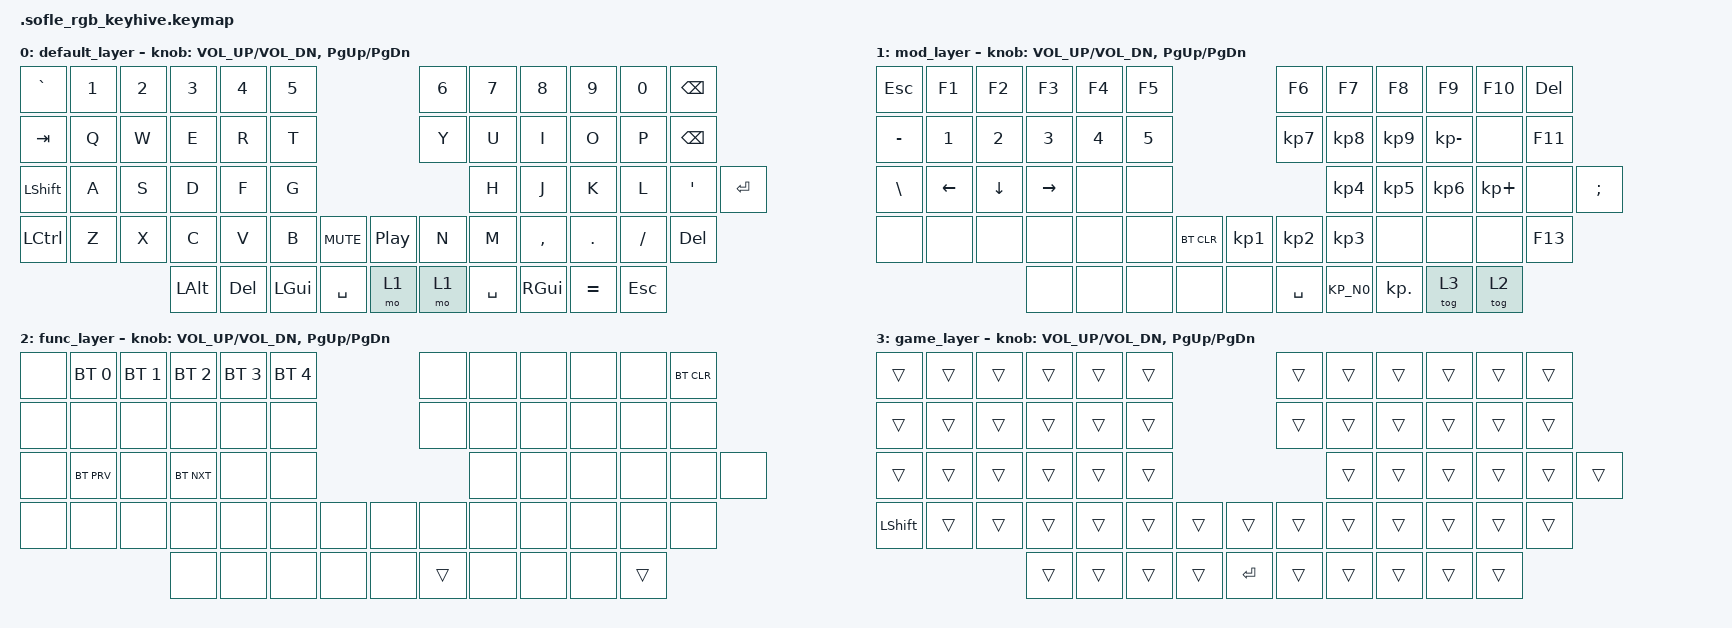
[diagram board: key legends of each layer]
/*
 * Copyright (c) 2020-2022 The ZMK Contributors
 *
 * SPDX-License-Identifier: MIT
 */

#include <zmk-helpers/helper.h>
#include <zmk-helpers/key-labels/sofle.h>
#include <behaviors.dtsi>
#include <dt-bindings/zmk/keys.h>
#include <dt-bindings/zmk/bt.h>
#include <dt-bindings/zmk/mouse.h>
#include <dt-bindings/zmk/outputs.h>
#include <dt-bindings/zmk/ext_power.h>
#include <dt-bindings/zmk/rgb.h>

/ {
  keymap {
    compatible = "zmk,keymap";

    default_layer {
      bindings = <
        &kp GRAVE       &kp N1   &kp N2    &kp N3    &kp N4   &kp N5                                &kp N6  &kp N7   &kp N8    &kp N9  &kp N0    &kp BACKSPACE
        &kp TAB         &kp Q    &kp W     &kp E     &kp R    &kp T                                 &kp Y   &kp U    &kp I     &kp O   &kp P     &kp BACKSPACE
        &kp LSHIFT       &kp A    &kp S     &kp D     &kp F    &kp G                                &kp H   &kp J    &kp K     &kp L   &kp SINGLE_QUOTE  &kp RET
        &kp LCTRL &kp Z    &kp X     &kp C     &kp V    &kp B     &kp C_MUTE       &kp C_PLAY_PAUSE &kp N   &kp M    &kp COMMA &kp DOT &kp SLASH &kp DEL
                                 &kp LALT  &kp DEL &kp LGUI &kp SPACE &mo 1        &mo 1  &kp SPACE &kp RGUI &kp EQUAL &kp ESC
      >;

      sensor-bindings = <&inc_dec_kp C_VOL_UP C_VOL_DN &inc_dec_kp PG_UP PG_DN>;
    };

    mod_layer {
      bindings = <
        &kp ESC &kp F1   &kp F2   &kp F3    &kp F4 &kp F5                     &kp F6 &kp F7 &kp F8  &kp F9 &kp F10 &kp DELETE
        &kp MINUS   &kp N1    &kp N2   &kp N3     &kp N4  &kp N5              &kp KP_N7  &kp KP_N8  &kp KP_N9   &kp KP_MINUS  &none   &kp F11
        &kp BACKSLASH   &kp LEFT &kp DOWN &kp RIGHT &none  &none              &kp KP_N4  &kp KP_N5  &kp KP_N6   &kp KP_PLUS  &none   &kp SEMI
        &none   &none    &none    &none   &none  &none &bt BT_CLR           &kp KP_N1  &kp KP_N2  &kp KP_N3  &none   &none  &none   &kp F13
                         &none    &none     &none  &none &none &kp SPACE &KP_N0  &kp KP_DOT  &tog 3  &tog 2
      >;

      sensor-bindings = <&inc_dec_kp C_VOL_UP C_VOL_DN &inc_dec_kp PG_UP PG_DN>;
    };

    func_layer {
      bindings = <
        &none &bt BT_SEL 0 &bt BT_SEL 1     &bt BT_SEL 2 &bt BT_SEL 3 &bt BT_SEL 4              &none &none &none &none  &none &bt BT_CLR
        &none &none        &none            &none        &none        &none                     &none &none &none &none  &none &none
        &none &bt BT_PRV   &none            &bt BT_NXT   &none        &none                     &none &none &none &none  &none &none
        &none &none        &none            &none        &none        &none        &none &none  &none &none &none &none  &none &none
                           &none            &none        &none        &none        &none &trans &none &none &none &trans
      >;

      sensor-bindings = <&inc_dec_kp C_VOL_UP C_VOL_DN &inc_dec_kp PG_UP PG_DN>;
    };

    game_layer {
      bindings = <
        &trans     &trans &trans &trans &trans &trans                &trans &trans &trans &trans &trans &trans
        &trans     &trans &trans &trans &trans &trans                &trans &trans &trans &trans &trans &trans
        &trans     &trans &trans &trans &trans &trans                &trans &trans &trans &trans &trans &trans
        &kp LSHIFT &trans &trans &trans &trans &trans &trans  &trans &trans &trans &trans &trans &trans &trans
                          &trans &trans &trans &trans &kp RET &trans &trans &trans &trans &trans
      >;

      sensor-bindings = <&inc_dec_kp C_VOL_UP C_VOL_DN &inc_dec_kp PG_UP PG_DN>;
    };

  };
};

// layer sample
//         &none &none &none &none &none &none             &none &none &none &none &none &none
//         &none &none &none &none &none &none             &none &none &none &none &none &none
//         &none &none &none &none &none &none             &none &none &none &none &none &none
//         &none &none &none &none &none &none &none &none &none &none &none &none &none &none
//                     &none &none &none &none &none &none &none &none &none &none
